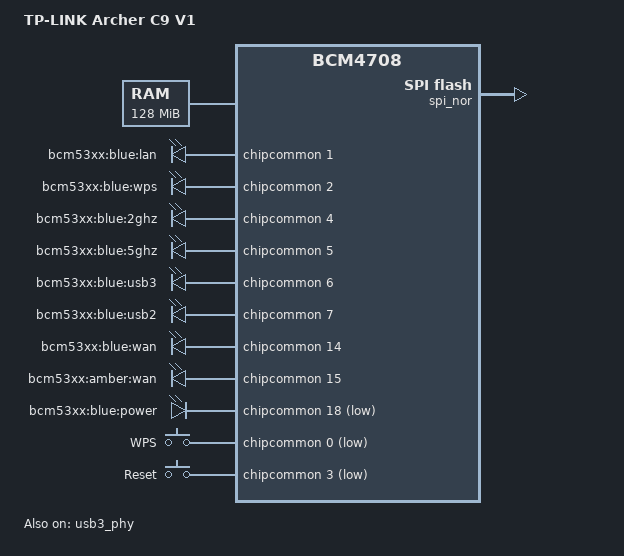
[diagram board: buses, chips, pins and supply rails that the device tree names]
// SPDX-License-Identifier: GPL-2.0-or-later OR MIT
/*
 * Copyright (C) 2016 Rafał Miłecki <rafal@milecki.pl>
 */

/dts-v1/;

#include "bcm4709.dtsi"

/ {
	compatible = "tplink,archer-c9-v1", "brcm,bcm4709", "brcm,bcm4708";
	model = "TP-LINK Archer C9 V1";

	chosen {
		bootargs = "console=ttyS0,115200 earlycon";
	};

	memory@0 {
		device_type = "memory";
		reg = <0x00000000 0x08000000>;
	};

	leds {
		compatible = "gpio-leds";

		led-lan {
			label = "bcm53xx:blue:lan";
			gpios = <&chipcommon 1 GPIO_ACTIVE_HIGH>;
		};

		led-wps {
			label = "bcm53xx:blue:wps";
			gpios = <&chipcommon 2 GPIO_ACTIVE_HIGH>;
		};

		led-2ghz {
			label = "bcm53xx:blue:2ghz";
			gpios = <&chipcommon 4 GPIO_ACTIVE_HIGH>;
		};

		led-5ghz {
			label = "bcm53xx:blue:5ghz";
			gpios = <&chipcommon 5 GPIO_ACTIVE_HIGH>;
		};

		led-usb3 {
			label = "bcm53xx:blue:usb3";
			gpios = <&chipcommon 6 GPIO_ACTIVE_HIGH>;
			trigger-sources = <&ohci_port1>, <&ehci_port1>,
					  <&xhci_port1>;
			linux,default-trigger = "usbport";
		};

		led-usb2 {
			label = "bcm53xx:blue:usb2";
			gpios = <&chipcommon 7 GPIO_ACTIVE_HIGH>;
			trigger-sources = <&ohci_port2>, <&ehci_port2>;
			linux,default-trigger = "usbport";
		};

		led-wan-blue {
			label = "bcm53xx:blue:wan";
			gpios = <&chipcommon 14 GPIO_ACTIVE_HIGH>;
		};

		led-wan-amber {
			label = "bcm53xx:amber:wan";
			gpios = <&chipcommon 15 GPIO_ACTIVE_HIGH>;
		};

		led-power {
			label = "bcm53xx:blue:power";
			gpios = <&chipcommon 18 GPIO_ACTIVE_LOW>;
			linux,default-trigger = "default-on";
		};
	};

	gpio-keys {
		compatible = "gpio-keys";

		button-wps {
			label = "WPS";
			linux,code = <KEY_WPS_BUTTON>;
			gpios = <&chipcommon 0 GPIO_ACTIVE_LOW>;
		};

		button-restart {
			label = "Reset";
			linux,code = <KEY_RESTART>;
			gpios = <&chipcommon 3 GPIO_ACTIVE_LOW>;
		};
	};
};

&usb2 {
	vcc-gpio = <&chipcommon 13 GPIO_ACTIVE_HIGH>;
};

&usb3 {
	vcc-gpio = <&chipcommon 12 GPIO_ACTIVE_HIGH>;
};

&spi_nor {
	status = "okay";

	partitions {
		compatible = "tplink,safeloader-partitions";
		partitions-table-offset = <0xe50000>;

		partition-os-image {
			compatible = "brcm,trx";
		};

		partition-file-system {
			linux,rootfs;
		};
	};
};

&usb3_phy {
	status = "okay";
};
